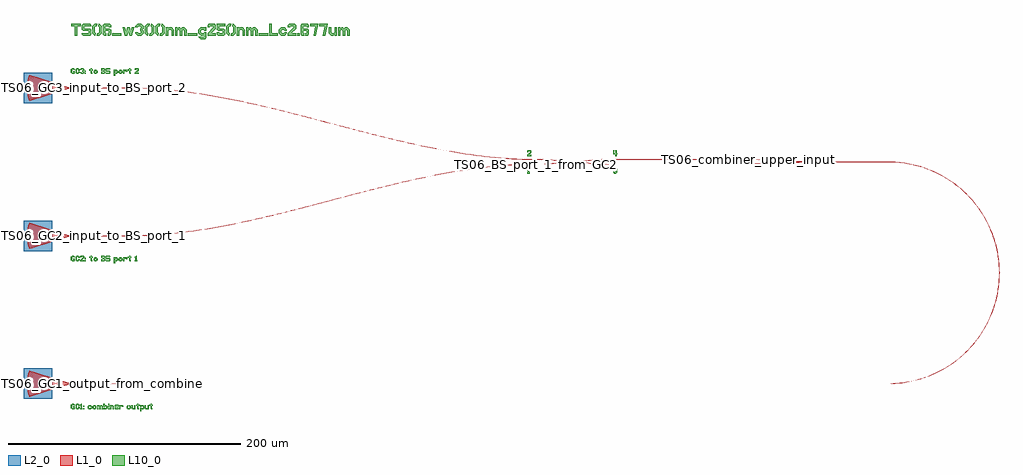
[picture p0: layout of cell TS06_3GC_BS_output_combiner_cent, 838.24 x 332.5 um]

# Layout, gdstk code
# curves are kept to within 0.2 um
from math import pi, radians
import gdstk
lib = gdstk.Library(unit=1e-6, precision=1e-09)
def R(c, l, rs):  # rectangles x0, y0, x1, y1
    for r in rs: c.add(gdstk.rectangle(r[:2], r[2:], *l))
def P(c, l, *ps):  # polygons
    for p in ps: c.add(gdstk.Polygon(p, *l))
L1_0 = (1, 0)
L2_0 = (2, 0)
L10_0 = (10, 0)

grating_coupler_ellipti_ = lib.new_cell('grating_coupler_ellipti_2639d331')
P(grating_coupler_ellipti_, L1_0, [(15.723,-4.923),(0,-0.25),(0,0.25),(15.723,4.923),(16.379,2.5),(16.6,0),(16.379,-2.5)],
  [(16.17,-5.184),(16.048,-5.018),(16.502,-3.548),(16.798,-2.041),(16.906,-1.023),(16.942,0),(16.906,1.023),(16.798,2.041),(16.502,3.548),(16.048,5.018),(16.17,5.184),(16.37,5.134),(16.698,4.138),(16.954,3.121),(17.202,1.569),(17.286,0),(17.202,-1.569),(16.954,-3.121),(16.698,-4.138),(16.37,-5.134)],
  [(16.819,-5.387),(16.697,-5.221),(17.169,-3.692),(17.438,-2.387),(17.59,-1.065),(17.627,0),(17.59,1.065),(17.438,2.387),(17.169,3.692),(16.697,5.221),(16.819,5.387),(17.019,5.337),(17.36,4.302),(17.626,3.245),(17.884,1.631),(17.971,0),(17.884,-1.631),(17.626,-3.245),(17.36,-4.302),(17.019,-5.337)],
  [(17.469,-5.59),(17.345,-5.424),(17.837,-3.836),(18.115,-2.48),(18.273,-1.106),(18.312,0),(18.273,1.106),(18.115,2.48),(17.837,3.836),(17.345,5.424),(17.469,5.59),(17.669,5.54),(18.021,4.466),(18.298,3.368),(18.566,1.693),(18.656,0),(18.566,-1.693),(18.298,-3.368),(18.021,-4.466),(17.669,-5.54)],
  [(18.117,-5.793),(17.995,-5.627),(18.504,-3.979),(18.793,-2.573),(18.957,-1.147),(18.997,0),(18.957,1.147),(18.793,2.573),(18.504,3.979),(17.995,5.627),(18.117,5.793),(18.317,5.743),(18.683,4.63),(18.97,3.492),(19.248,1.755),(19.341,0),(19.248,-1.755),(18.97,-3.492),(18.683,-4.63),(18.317,-5.743)],
  [(18.767,-5.996),(18.643,-5.83),(19.171,-4.123),(19.47,-2.666),(19.64,-1.189),(19.682,0),(19.64,1.189),(19.47,2.666),(19.171,4.123),(18.643,5.83),(18.767,5.996),(18.967,5.946),(19.345,4.793),(19.641,3.615),(19.929,1.818),(20.026,0),(19.929,-1.818),(19.641,-3.615),(19.345,-4.793),(18.967,-5.946)],
  [(19.416,-6.199),(19.292,-6.034),(19.838,-4.267),(20.148,-2.759),(20.324,-1.23),(20.367,0),(20.324,1.23),(20.148,2.759),(19.838,4.267),(19.292,6.034),(19.416,6.199),(19.616,6.148),(20.007,4.957),(20.313,3.739),(20.611,1.88),(20.711,0),(20.611,-1.88),(20.313,-3.739),(20.007,-4.957),(19.616,-6.148)],
  [(20.063,-6.403),(19.941,-6.237),(20.505,-4.41),(20.826,-2.852),(20.982,-1.589),(21.052,0),(20.982,1.589),(20.826,2.852),(20.505,4.41),(19.941,6.237),(20.063,6.403),(20.263,6.353),(20.668,5.121),(20.985,3.862),(21.293,1.942),(21.396,0),(21.293,-1.942),(20.985,-3.862),(20.668,-5.121),(20.263,-6.353)],
  [(20.712,-6.606),(20.59,-6.44),(21.089,-4.872),(21.503,-2.945),(21.691,-1.313),(21.737,0),(21.691,1.313),(21.503,2.945),(21.089,4.872),(20.59,6.44),(20.712,6.606),(20.912,6.556),(21.33,5.285),(21.657,3.986),(21.974,2.004),(22.081,0),(21.974,-2.004),(21.657,-3.986),(21.33,-5.285),(20.912,-6.556)],
  [(21.362,-6.809),(21.238,-6.643),(21.84,-4.698),(22.181,-3.038),(22.374,-1.355),(22.422,0),(22.374,1.355),(22.181,3.038),(21.84,4.698),(21.238,6.643),(21.362,6.809),(21.562,6.759),(21.992,5.448),(22.329,4.109),(22.656,2.066),(22.766,0),(22.656,-2.066),(22.329,-4.109),(21.992,-5.448),(21.562,-6.759)],
  [(22.01,-7.012),(21.888,-6.846),(22.507,-4.841),(22.858,-3.131),(23.058,-1.396),(23.107,0),(23.058,1.396),(22.858,3.131),(22.507,4.841),(21.888,6.846),(22.01,7.012),(22.21,6.962),(22.33,6.628),(22.75,5.27),(23.001,4.233),(23.338,2.128),(23.451,0),(23.338,-2.128),(23.001,-4.233),(22.75,-5.27),(22.33,-6.628),(22.21,-6.962)],
  [(22.66,-7.215),(22.536,-7.049),(23.174,-4.985),(23.536,-3.224),(23.713,-1.796),(23.792,0),(23.713,1.796),(23.536,3.224),(23.174,4.985),(22.536,7.049),(22.66,7.215),(22.86,7.165),(22.982,6.821),(23.414,5.423),(23.673,4.356),(24.02,2.19),(24.136,0),(24.02,-2.19),(23.673,-4.356),(23.414,-5.423),(22.982,-6.821),(22.86,-7.165)],
  [(23.307,-7.418),(23.185,-7.252),(23.841,-5.129),(24.214,-3.317),(24.425,-1.479),(24.477,0),(24.425,1.479),(24.214,3.317),(23.841,5.129),(23.185,7.252),(23.307,7.418),(23.507,7.368),(23.634,7.016),(24.079,5.577),(24.345,4.48),(24.701,2.252),(24.821,0),(24.701,-2.252),(24.345,-4.48),(24.079,-5.577),(23.634,-7.016),(23.507,-7.368)],
  [(23.956,-7.622),(23.834,-7.456),(24.508,-5.273),(24.891,-3.41),(25.078,-1.9),(25.162,0),(25.078,1.9),(24.891,3.41),(24.508,5.273),(23.834,7.456),(23.956,7.622),(24.156,7.572),(24.41,6.841),(24.743,5.731),(25.094,4.225),(25.383,2.314),(25.506,0),(25.383,-2.314),(25.094,-4.225),(24.743,-5.731),(24.41,-6.841),(24.156,-7.572)],
  [(24.606,-7.825),(24.483,-7.659),(25.176,-5.416),(25.569,-3.502),(25.792,-1.562),(25.847,0),(25.792,1.562),(25.569,3.502),(25.176,5.416),(24.483,7.659),(24.606,7.825),(24.805,7.775),(25.066,7.026),(25.408,5.884),(25.768,4.338),(26.065,2.376),(26.191,0),(26.065,-2.376),(25.768,-4.338),(25.408,-5.884),(25.066,-7.026),(24.805,-7.775)],
  [(25.255,-8.028),(25.131,-7.862),(25.843,-5.56),(26.247,-3.595),(26.476,-1.603),(26.532,0),(26.476,1.603),(26.247,3.595),(25.843,5.56),(25.131,7.862),(25.255,8.028),(25.455,7.978),(25.722,7.209),(26.073,6.038),(26.442,4.451),(26.746,2.438),(26.876,0),(26.746,-2.438),(26.442,-4.451),(26.073,-6.038),(25.722,-7.209),(25.455,-7.978)],
  [(25.904,-8.231),(25.78,-8.066),(26.51,-5.704),(26.924,-3.688),(27.159,-1.645),(27.217,0),(27.159,1.645),(26.924,3.688),(26.51,5.704),(25.78,8.066),(25.904,8.231),(26.104,8.18),(26.377,7.393),(26.737,6.192),(27.116,4.565),(27.428,2.501),(27.561,0),(27.428,-2.501),(27.116,-4.565),(26.737,-6.192),(26.377,-7.393),(26.104,-8.18)],
  [(26.553,-8.434),(26.43,-8.268),(27.177,-5.847),(27.602,-3.781),(27.843,-1.686),(27.902,0),(27.843,1.686),(27.602,3.781),(27.177,5.847),(26.43,8.268),(26.553,8.434),(26.752,8.384),(27.033,7.576),(27.402,6.346),(27.79,4.678),(28.11,2.563),(28.246,0),(28.11,-2.563),(27.79,-4.678),(27.402,-6.346),(27.033,-7.576),(26.752,-8.384)],
  [(27.2,-8.637),(27.078,-8.471),(27.494,-7.24),(27.844,-5.991),(28.279,-3.874),(28.492,-2.158),(28.587,0),(28.492,2.158),(28.279,3.874),(27.844,5.991),(27.494,7.24),(27.078,8.471),(27.2,8.637),(27.4,8.587),(27.689,7.76),(28.066,6.499),(28.464,4.791),(28.792,2.625),(28.931,0),(28.792,-2.625),(28.464,-4.791),(28.066,-6.499),(27.689,-7.76),(27.4,-8.587)],
  [(27.85,-8.84),(27.726,-8.674),(28.153,-7.414),(28.511,-6.135),(28.957,-3.967),(29.21,-1.769),(29.272,0),(29.21,1.769),(28.957,3.967),(28.511,6.135),(28.153,7.414),(27.726,8.674),(27.85,8.84),(28.05,8.79),(28.344,7.944),(28.731,6.653),(29.138,4.905),(29.473,2.687),(29.579,1.345),(29.616,0),(29.579,-1.345),(29.473,-2.687),(29.138,-4.905),(28.731,-6.653),(28.344,-7.944),(28.05,-8.79)],
  [(28.498,-9.044),(28.376,-8.878),(28.811,-7.588),(29.179,-6.278),(29.635,-4.06),(29.893,-1.81),(29.957,0),(29.893,1.81),(29.635,4.06),(29.179,6.278),(28.811,7.588),(28.376,8.878),(28.498,9.044),(28.698,8.994),(29,8.126),(29.395,6.807),(29.812,5.018),(30.155,2.749),(30.263,1.376),(30.301,0),(30.263,-1.376),(30.155,-2.749),(29.812,-5.018),(29.395,-6.807),(29,-8.126),(28.698,-8.994)],
  [(29.148,-9.247),(29.024,-9.081),(29.47,-7.761),(29.846,-6.422),(30.312,-4.153),(30.577,-1.852),(30.642,0),(30.577,1.852),(30.312,4.153),(29.846,6.422),(29.47,7.761),(29.024,9.081),(29.148,9.247),(29.348,9.197),(29.656,8.31),(30.06,6.961),(30.486,5.131),(30.837,2.811),(30.948,1.407),(30.986,0),(30.948,-1.407),(30.837,-2.811),(30.486,-5.131),(30.06,-6.961),(29.656,-8.31),(29.348,-9.197)],
  [(29.797,-9.45),(29.673,-9.284),(30.129,-7.935),(30.513,-6.566),(30.99,-4.246),(31.223,-2.366),(31.327,0),(31.223,2.366),(30.99,4.246),(30.513,6.566),(30.129,7.935),(29.673,9.284),(29.797,9.45),(29.997,9.4),(30.311,8.494),(30.724,7.114),(31.16,5.245),(31.4,3.825),(31.565,2.396),(31.671,0),(31.565,-2.396),(31.4,-3.825),(31.16,-5.245),(30.724,-7.114),(30.311,-8.494),(29.997,-9.4)],
  [(30.444,-9.653),(30.322,-9.487),(30.788,-8.11),(31.18,-6.71),(31.667,-4.339),(31.944,-1.935),(32.012,0),(31.944,1.935),(31.667,4.339),(31.18,6.71),(30.788,8.11),(30.322,9.487),(30.444,9.653),(30.644,9.603),(30.967,8.677),(31.389,7.268),(31.834,5.358),(32.2,2.935),(32.316,1.47),(32.356,0),(32.316,-1.47),(32.2,-2.935),(31.834,-5.358),(31.389,-7.268),(30.967,-8.677),(30.644,-9.603)],
  [(31.093,-9.856),(30.971,-9.69),(31.722,-7.332),(32.071,-5.89),(32.345,-4.432),(32.588,-2.469),(32.697,0),(32.588,2.469),(32.345,4.432),(32.071,5.89),(31.722,7.332),(30.971,9.69),(31.093,9.856),(31.293,9.806),(31.622,8.862),(32.054,7.422),(32.508,5.471),(32.882,2.997),(33,1.501),(33.041,0),(33,-1.501),(32.882,-2.997),(32.508,-5.471),(32.054,-7.422),(31.622,-8.862),(31.293,-9.806)],
  [(31.742,-10.059),(31.62,-9.893),(32.105,-8.456),(32.514,-6.997),(33.023,-4.525),(33.311,-2.018),(33.382,0),(33.311,2.018),(33.023,4.525),(32.514,6.997),(32.105,8.456),(31.62,9.893),(31.742,10.059),(31.942,10.009),(32.278,9.044),(32.718,7.576),(33.182,5.585),(33.437,4.073),(33.613,2.551),(33.726,0),(33.613,-2.551),(33.437,-4.073),(33.182,-5.585),(32.718,-7.576),(32.278,-9.044),(31.942,-10.009)],
  [(32.391,-10.263),(32.269,-10.097),(32.764,-8.63),(33.182,-7.141),(33.7,-4.618),(33.994,-2.059),(34.067,0),(33.994,2.059),(33.7,4.618),(33.182,7.141),(32.764,8.63),(32.269,10.097),(32.391,10.263),(32.591,10.213),(32.934,9.228),(33.383,7.729),(33.856,5.698),(34.245,3.121),(34.368,1.563),(34.411,0),(34.368,-1.563),(34.245,-3.121),(33.856,-5.698),(33.383,-7.729),(32.934,-9.228),(32.591,-10.213)],
  [(33.041,-10.466),(32.918,-10.3),(33.423,-8.803),(33.849,-7.284),(34.378,-4.71),(34.678,-2.101),(34.752,0),(34.678,2.101),(34.378,4.71),(33.849,7.284),(33.423,8.803),(32.918,10.3),(33.041,10.466),(33.24,10.416),(33.751,8.905),(34.181,7.368),(34.529,5.811),(34.927,3.184),(35.053,1.594),(35.096,0),(35.053,-1.594),(34.927,-3.184),(34.529,-5.811),(34.181,-7.368),(33.751,-8.905),(33.24,-10.416)],
  [(33.69,-10.669),(33.566,-10.503),(34.082,-8.977),(34.516,-7.428),(35.056,-4.803),(35.362,-2.142),(35.437,0),(35.362,2.142),(35.056,4.803),(34.516,7.428),(34.082,8.977),(33.566,10.503),(33.69,10.669),(33.89,10.619),(34.41,9.079),(34.848,7.512),(35.203,5.925),(35.609,3.246),(35.737,1.625),(35.781,0),(35.737,-1.625),(35.609,-3.246),(35.203,-5.925),(34.848,-7.512),(34.41,-9.079),(33.89,-10.619)],
  [(34.337,-10.872),(34.215,-10.706),(34.74,-9.151),(35.183,-7.572),(35.733,-4.896),(36.002,-2.728),(36.122,0),(36.002,2.728),(35.733,4.896),(35.183,7.572),(34.74,9.151),(34.215,10.706),(34.337,10.872),(34.537,10.822),(34.901,9.778),(35.376,8.191),(35.877,6.038),(36.154,4.404),(36.344,2.758),(36.466,0),(36.344,-2.758),(36.154,-4.404),(35.877,-6.038),(35.376,-8.191),(34.901,-9.778),(34.537,-10.822)],
  [(34.986,-11.075),(34.864,-10.909),(35.399,-9.324),(35.85,-7.715),(36.411,-4.989),(36.729,-2.225),(36.807,0),(36.729,2.225),(36.411,4.989),(35.85,7.715),(35.399,9.324),(34.864,10.909),(34.986,11.075),(35.186,11.025),(35.727,9.426),(36.182,7.799),(36.551,6.151),(36.972,3.37),(37.105,1.687),(37.151,0),(37.105,-1.687),(36.972,-3.37),(36.551,-6.151),(36.182,-7.799),(35.727,-9.426),(35.186,-11.025)])
R(grating_coupler_ellipti_, L2_0, [(15.6,-13.075,40.164,13.075)])

gc_1550_l2r_7f0eae7e = lib.new_cell('gc_1550_l2r_7f0eae7e')
gc_1550_l2r_7f0eae7e.add(gdstk.Reference(grating_coupler_ellipti_, (0,0), rotation=pi))

text_gdsfactorypcompone_ = lib.new_cell('text_gdsfactorypcompone_0cec1d55')
P(text_gdsfactorypcompone_, L10_0, [(0.5,0),(0.5,1),(1,1),(1,3),(0.5,3),(0.5,4),(1.5,5),(2,5),(2,1),(2.5,1),(2.5,0)])

c_text_gdsfactorypcompone_ = lib.new_cell('text_gdsfactorypcompone_bb60dcc4')
P(c_text_gdsfactorypcompone_, L10_0, [(0.5,0),(0.5,1),(3,3.5),(3,4),(1.5,4),(1.5,3.5),(0.5,3.5),(0.5,4.5),(1,5),(3.5,5),(4,4.5),(4,3),(2,1),(4,1),(4,0)])

c_text_gdsfactorypcompone__ = lib.new_cell('text_gdsfactorypcompone_8bb6a0ed')
P(c_text_gdsfactorypcompone__, L10_0, [(1.5,0),(0.5,1),(0.5,1.5),(1.5,1.5),(2,1),(2.5,1),(3,1.5),(2.5,2),(2.5,3),(3,3.5),(2.5,4),(2,4),(1.5,3.5),(0.5,3.5),(0.5,4),(1.5,5),(3,5),(4,4),(4,3),(3.5,2.5),(4,2),(4,1),(3,0)])

c_text_gdsfactorypcompone___ = lib.new_cell('text_gdsfactorypcompone_e2f2af36')
P(c_text_gdsfactorypcompone___, L10_0, [(2.5,0),(2.5,1.5),(0.5,1.5),(0.5,5),(1.5,5),(1.5,2.5),(2.5,2.5),(2.5,5),(3.5,5),(3.5,2.5),(4,2.5),(4,1.5),(3.5,1.5),(3.5,0)])

bs_w300nm_g250nm_lc2_677 = lib.new_cell('BS_w300nm_g250nm_Lc2.677um_9631b')
P(bs_w300nm_g250nm_lc2_677, L1_0, [(29.833,0.125),(26.826,0.201),(23.655,0.401),(13.153,1.419),(9.324,1.713),(5.998,1.842),(0,1.85),(0,2.15),(6.002,2.142),(9.175,2.022),(13.013,1.733),(24.011,0.675),(27.007,0.493),(29.834,0.425),(34.007,0.439),(37.834,0.615),(41.496,0.918),(49.664,1.733),(53.836,2.041),(56.675,2.142),(62.677,2.15),(62.677,1.85),(56.679,1.842),(53.186,1.703),(49.857,1.449),(41.191,0.588),(37.353,0.283),(34.013,0.139)],
  [(0,-2.15),(0,-1.85),(5.998,-1.842),(9.324,-1.713),(13.153,-1.419),(23.655,-0.401),(26.826,-0.201),(29.833,-0.125),(34.348,-0.147),(38.021,-0.327),(41.691,-0.635),(49.857,-1.449),(54.018,-1.75),(57.178,-1.848),(62.677,-1.85),(62.677,-2.15),(57.176,-2.148),(54.503,-2.074),(50.164,-1.777),(41.496,-0.918),(37.834,-0.615),(34.007,-0.439),(29.834,-0.425),(27.007,-0.493),(24.011,-0.675),(13.013,-1.733),(9.175,-2.022),(6.002,-2.142)])
bs_w300nm_g250nm_lc2_677.add(gdstk.Reference(text_gdsfactorypcompone_, (-8,-10)))
bs_w300nm_g250nm_lc2_677.add(gdstk.Reference(c_text_gdsfactorypcompone_, (-8,5)))
bs_w300nm_g250nm_lc2_677.add(gdstk.Reference(c_text_gdsfactorypcompone__, (65.677,-10)))
bs_w300nm_g250nm_lc2_677.add(gdstk.Reference(c_text_gdsfactorypcompone___, (65.677,5)))
bs_w300nm_g250nm_lc2_677.add(gdstk.Label('BS_port_1_left_bottom', (0,-2), layer=11, texttype=0))
bs_w300nm_g250nm_lc2_677.add(gdstk.Label('BS_port_2_left_top', (0,2), layer=11, texttype=0))
bs_w300nm_g250nm_lc2_677.add(gdstk.Label('BS_port_3_right_bottom_through_of_1', (62.677,-2), layer=11, texttype=0))
bs_w300nm_g250nm_lc2_677.add(gdstk.Label('BS_port_4_right_top', (62.677,2), layer=11, texttype=0))

y_combiner_2x1_ts06_9d61 = lib.new_cell('Y_combiner_2x1_TS06_9d610cba')
R(y_combiner_2x1_ts06_9d61, L1_0, [(60,-0.15,80,0.15)])
P(y_combiner_2x1_ts06_9d61, L1_0, [(59.6,-0.15),(52.397,-0.062),(44.394,0.185),(21.193,1.278),(12.795,1.616),(6.397,1.787),(0,1.85),(0,2.15),(6.403,2.087),(12.805,1.916),(19.207,1.667),(38.007,0.759),(45.605,0.44),(52.803,0.229),(60,0.15),(60,-0.15)],
  [(0,-2.15),(0,-1.85),(7.197,-1.771),(14.395,-1.56),(21.993,-1.241),(38.393,-0.441),(47.195,-0.084),(53.597,0.087),(60,0.15),(60,-0.15),(52.803,-0.229),(45.605,-0.44),(38.007,-0.759),(21.607,-1.559),(12.805,-1.916),(6.403,-2.087)])

c_text_gdsfactorypcompone____ = lib.new_cell('text_gdsfactorypcompone_e87f1c93')
R(c_text_gdsfactorypcompone____, L10_0, [(36,0,44,2), (101,0,109,2), (162,0,170,2), (195,0,197,2)])
P(c_text_gdsfactorypcompone____, L10_0, [(47,0),(45,7),(47,7),(48,3.5),(49,7),(51,7),(52,3.5),(53,7),(55,7),(53,0),(51,0),(50,3.5),(49,0)],
  [(82,0),(82,7),(84,7),(84,6),(85,7),(87,7),(89,5),(89,0),(87,0),(87,4),(86,5),(85,5),(84,4),(84,0)],
  [(90,0),(90,7),(92,7),(92,6),(93,7),(94,7),(95,6),(96,7),(98,7),(100,5),(100,0),(98,0),(98,4),(97,5),(96,4),(96,0),(94,0),(94,4),(93,5),(92,4),(92,0)],
  [(112,-3),(110,-1),(115,-1),(115,0),(112.34,0),(110,2),(110,5),(112,7),(117,7),(117,4),(115,4),(115,5),(113,5),(112,4),(112,3),(113,2),(115,2),(115,3),(117,3),(117,-2),(116,-3)],
  [(143,0),(143,7),(145,7),(145,6),(146,7),(148,7),(150,5),(150,0),(148,0),(148,4),(147,5),(146,5),(145,4),(145,0)],
  [(151,0),(151,7),(153,7),(153,6),(154,7),(155,7),(156,6),(157,7),(159,7),(161,5),(161,0),(159,0),(159,4),(158,5),(157,4),(157,0),(155,0),(155,4),(154,5),(153,4),(153,0)],
  [(181,0),(179,2),(179,5),(181,7),(184,7),(186,5),(186,4),(184,4),(183,5),(182,5),(181,4),(181,3),(182,2),(183,2),(184,3),(186,3),(186,2),(184,0)],
  [(224,0),(222,2),(222,7),(224,7),(224,3),(225,2),(226,2),(227,3),(227,7),(229,7),(229,0),(227,0),(227,1),(226,0)],
  [(230,0),(230,7),(232,7),(232,6),(233,7),(234,7),(235,6),(236,7),(238,7),(240,5),(240,0),(238,0),(238,4),(237,5),(236,4),(236,0),(234,0),(234,4),(233,5),(232,4),(232,0)],
  [(4,0),(4,8),(1,8),(1,10),(9,10),(9,8),(6,8),(6,0)],
  [(11,0),(10,1),(10,2),(16,2),(16,4),(11,4),(10,5),(10,9),(11,10),(17,10),(18,9),(18,8),(12,8),(12,6),(17,6),(18,5),(18,1),(17,0)],
  [(21,0),(19,2),(19,8),(21,10),(23.3,10),(22.8,8),(22,8),(21,7),(21,3),(22,2),(21.5,0)],
  [(22.7,0),(23.2,2),(24,2),(25,3),(25,7),(24,8),(24.5,10),(25,10),(27,8),(27,2),(25,0)],
  [(29,0),(28,1),(28,9),(29,10),(34,10),(35,9),(35,7),(33,7),(33,8),(30,8),(30,6),(34,6),(35,5),(35,1),(34,0),(32,0),(32,2),(33,2),(33,4),(30,4),(30,2),(31,2),(31,0)],
  [(58,0),(56,2),(56,3),(58,3),(59,2),(60,2),(61,3),(60,4),(60,6),(61,7),(60,8),(59,8),(58,7),(56,7),(56,8),(58,10),(61,10),(63,8),(63,6),(62,5),(63,4),(63,2),(61,0)],
  [(66,0),(64,2),(64,8),(66,10),(68.3,10),(67.8,8),(67,8),(66,7),(66,3),(67,2),(66.5,0)],
  [(67.7,0),(68.2,2),(69,2),(70,3),(70,7),(69,8),(69.5,10),(70,10),(72,8),(72,2),(70,0)],
  [(75,0),(73,2),(73,8),(75,10),(77.3,10),(76.8,8),(76,8),(75,7),(75,3),(76,2),(75.5,0)],
  [(76.7,0),(77.2,2),(78,2),(79,3),(79,7),(78,8),(78.5,10),(79,10),(81,8),(81,2),(79,0)],
  [(118,0),(118,2),(123,7),(123,8),(120,8),(120,7),(118,7),(118,9),(119,10),(124,10),(125,9),(125,6),(121,2),(125,2),(125,0)],
  [(127,0),(126,1),(126,3),(128,3),(128,2),(131,2),(131,4),(127,4),(126,5),(126,10),(133,10),(133,8),(128,8),(128,6),(132,6),(133,5),(133,1),(132,0)],
  [(136,0),(134,2),(134,8),(136,10),(138.3,10),(137.8,8),(137,8),(136,7),(136,3),(137,2),(136.5,0)],
  [(137.7,0),(138.2,2),(139,2),(140,3),(140,7),(139,8),(139.5,10),(140,10),(142,8),(142,2),(140,0)],
  [(171,0),(171,10),(173,10),(173,2),(178,2),(178,0)],
  [(187,0),(187,2),(192,7),(192,8),(189,8),(189,7),(187,7),(187,9),(188,10),(193,10),(194,9),(194,6),(190,2),(194,2),(194,0)],
  [(199,0),(198,1),(198,9),(199,10),(204,10),(205,9),(205,7),(203,7),(203,8),(200,8),(200,6),(204,6),(205,5),(205,1),(204,0),(202,0),(202,2),(203,2),(203,4),(200,4),(200,2),(201,2),(201,0)],
  [(209,0),(210.6,8),(206,8),(206,10),(213,10),(211,0)],
  [(217,0),(218.6,8),(214,8),(214,10),(221,10),(219,0)])

c_text_gdsfactorypcompone_____ = lib.new_cell('text_gdsfactorypcompone_c0ff4e2b')
R(c_text_gdsfactorypcompone_____, L10_0, [(11,0,12,1), (32.5,0,33.5,3), (11,2,12,3), (32.5,4,33.5,5)])
P(c_text_gdsfactorypcompone_____, L10_0, [(16,0),(15,1),(15,2.5),(16,3.5),(17.5,3.5),(18.5,2.5),(18.5,2),(17.5,2),(17,2.5),(16.5,2.5),(16,2),(16,1.5),(16.5,1),(17,1),(17.5,1.5),(18.5,1.5),(18.5,1),(17.5,0)],
  [(20,0),(19,1),(19,2.5),(20,3.5),(20.5,3.5),(20.5,2.5),(20,2),(20,1.5),(20.5,1),(21,1),(21.5,1.5),(21.5,2),(21,2.5),(21,3.5),(21.5,3.5),(22.5,2.5),(22.5,1),(21.5,0)],
  [(23,0),(23,3.5),(24,3.5),(24,3),(24.5,3.5),(25,3.5),(25.5,3),(26,3.5),(27,3.5),(28,2.5),(28,0),(27,0),(27,2),(26.5,2.5),(26,2),(26,0),(25,0),(25,2),(24.5,2.5),(24,2),(24,0)],
  [(34,0),(34,3.5),(35,3.5),(35,3),(35.5,3.5),(36.5,3.5),(37.5,2.5),(37.5,0),(36.5,0),(36.5,2),(36,2.5),(35.5,2.5),(35,2),(35,0)],
  [(42,0),(42,3.5),(43,3.5),(43,3),(43.5,3.5),(45,3.5),(45.5,3),(45.5,2),(44.5,2),(44.5,2.5),(43.5,2.5),(43,2),(43,0)],
  [(49.5,0),(48.5,1),(48.5,2.5),(49.5,3.5),(50,3.5),(50,2.5),(49.5,2),(49.5,1.5),(50,1),(50.5,1),(51,1.5),(51,2),(50.5,2.5),(50.5,3.5),(51,3.5),(52,2.5),(52,1),(51,0)],
  [(53.5,0),(52.5,1),(52.5,3.5),(53.5,3.5),(53.5,1.5),(54,1),(54.5,1),(55,1.5),(55,3.5),(56,3.5),(56,0),(55,0),(55,0.5),(54.5,0)],
  [(60,-1.5),(60,1.5),(61,1.5),(61,1),(62,1),(62.5,1.5),(62.5,2),(62,2.5),(61,2.5),(61,2),(60,2),(60,3.5),(62.5,3.5),(63.5,2.5),(63.5,1),(62.5,0),(61,0),(61,-1.5)],
  [(65,0),(64,1),(64,3.5),(65,3.5),(65,1.5),(65.5,1),(66,1),(66.5,1.5),(66.5,3.5),(67.5,3.5),(67.5,0),(66.5,0),(66.5,0.5),(66,0)],
  [(38.5,0),(38,0.5),(38,3.5),(38.5,4),(41,4),(41.5,3.5),(41.5,2),(41,1.5),(39.7,1.5),(39.7,2.5),(40.5,2.5),(40.5,3),(39,3),(39,1),(41.5,1),(41.5,0.5),(41,0)],
  [(1.5,0),(0.5,1),(0.5,4),(1.5,5),(3,5),(4,4),(4,3.5),(3,3.5),(2.5,4),(2,4),(1.5,3.5),(1.5,1.5),(2,1),(3,1),(3,1.5),(2.5,1.5),(2.5,2.5),(4,2.5),(4,0.5),(3.5,0)],
  [(5.5,0),(4.5,1),(4.5,4),(5.5,5),(7,5),(8,4),(8,3),(7,3),(7,3.5),(6.5,4),(6,4),(5.5,3.5),(5.5,1.5),(6,1),(6.5,1),(7,1.5),(7,2),(8,2),(8,1),(7,0)],
  [(8.5,0),(8.5,1),(9,1),(9,3),(8.5,3),(8.5,4),(9.5,5),(10,5),(10,1),(10.5,1),(10.5,0)],
  [(28.5,0),(28.5,1.5),(29.5,1.5),(29.5,1),(30.5,1),(31,1.5),(31,2),(30.5,2.5),(29.5,2.5),(29.5,2),(28.5,2),(28.5,5),(29.5,5),(29.5,3.5),(31,3.5),(32,2.5),(32,1),(31,0)],
  [(58,0),(57.5,0.5),(57.5,3),(56.5,3),(56.5,4),(57.5,4),(57.5,5),(58.5,5),(58.5,4),(59.5,4),(59.5,3),(58.5,3),(58.5,1),(59,1),(59,0)],
  [(69.5,0),(69,0.5),(69,3),(68,3),(68,4),(69,4),(69,5),(70,5),(70,4),(71,4),(71,3),(70,3),(70,1),(70.5,1),(70.5,0)])

c_text_gdsfactorypcompone______ = lib.new_cell('text_gdsfactorypcompone_d52e5848')
R(c_text_gdsfactorypcompone______, L10_0, [(12.5,0,13.5,1), (12.5,2,13.5,3)])
P(c_text_gdsfactorypcompone______, L10_0, [(21,0),(20,1),(20,2.5),(21,3.5),(21.5,3.5),(21.5,2.5),(21,2),(21,1.5),(21.5,1),(22,1),(22.5,1.5),(22.5,2),(22,2.5),(22,3.5),(22.5,3.5),(23.5,2.5),(23.5,1),(22.5,0)],
  [(37.5,-1.5),(37.5,1.5),(38.5,1.5),(38.5,1),(39.5,1),(40,1.5),(40,2),(39.5,2.5),(38.5,2.5),(38.5,2),(37.5,2),(37.5,3.5),(40,3.5),(41,2.5),(41,1),(40,0),(38.5,0),(38.5,-1.5)],
  [(42.5,0),(41.5,1),(41.5,2.5),(42.5,3.5),(43,3.5),(43,2.5),(42.5,2),(42.5,1.5),(43,1),(43.5,1),(44,1.5),(44,2),(43.5,2.5),(43.5,3.5),(44,3.5),(45,2.5),(45,1),(44,0)],
  [(45.5,0),(45.5,3.5),(46.5,3.5),(46.5,3),(47,3.5),(48.5,3.5),(49,3),(49,2),(48,2),(48,2.5),(47,2.5),(46.5,2),(46.5,0)],
  [(1.5,0),(0.5,1),(0.5,4),(1.5,5),(3,5),(4,4),(4,3.5),(3,3.5),(2.5,4),(2,4),(1.5,3.5),(1.5,1.5),(2,1),(3,1),(3,1.5),(2.5,1.5),(2.5,2.5),(4,2.5),(4,0.5),(3.5,0)],
  [(5.5,0),(4.5,1),(4.5,4),(5.5,5),(7,5),(8,4),(8,3),(7,3),(7,3.5),(6.5,4),(6,4),(5.5,3.5),(5.5,1.5),(6,1),(6.5,1),(7,1.5),(7,2),(8,2),(8,1),(7,0)],
  [(8.5,0),(8.5,1),(11,3.5),(11,4),(9.5,4),(9.5,3.5),(8.5,3.5),(8.5,4.5),(9,5),(11.5,5),(12,4.5),(12,3),(10,1),(12,1),(12,0)],
  [(18,0),(17.5,0.5),(17.5,3),(16.5,3),(16.5,4),(17.5,4),(17.5,5),(18.5,5),(18.5,4),(19.5,4),(19.5,3),(18.5,3),(18.5,1),(19,1),(19,0)],
  [(26.5,0),(26.5,2),(27.5,2),(27.5,1),(28.5,1),(29,1.5),(28.5,2),(28.1,2),(28.1,3),(28.5,3),(29,3.5),(28.5,4),(27.5,4),(27.5,3),(26.5,3),(26.5,5),(29,5),(30,4),(30,3),(29.5,2.5),(30,2),(30,1),(29,0)],
  [(31,0),(30.5,0.5),(30.5,1),(33.5,1),(33.5,2),(31,2),(30.5,2.5),(30.5,4.5),(31,5),(34,5),(34.5,4.5),(34.5,4),(31.5,4),(31.5,3),(34,3),(34.5,2.5),(34.5,0.5),(34,0)],
  [(51,0),(50.5,0.5),(50.5,3),(49.5,3),(49.5,4),(50.5,4),(50.5,5),(51.5,5),(51.5,4),(52.5,4),(52.5,3),(51.5,3),(51.5,1),(52,1),(52,0)],
  [(55.5,0),(55.5,1),(56,1),(56,3),(55.5,3),(55.5,4),(56.5,5),(57,5),(57,1),(57.5,1),(57.5,0)])

c_text_gdsfactorypcompone_______ = lib.new_cell('text_gdsfactorypcompone_b450b07f')
R(c_text_gdsfactorypcompone_______, L10_0, [(12.5,0,13.5,1), (12.5,2,13.5,3)])
P(c_text_gdsfactorypcompone_______, L10_0, [(21,0),(20,1),(20,2.5),(21,3.5),(21.5,3.5),(21.5,2.5),(21,2),(21,1.5),(21.5,1),(22,1),(22.5,1.5),(22.5,2),(22,2.5),(22,3.5),(22.5,3.5),(23.5,2.5),(23.5,1),(22.5,0)],
  [(37.5,-1.5),(37.5,1.5),(38.5,1.5),(38.5,1),(39.5,1),(40,1.5),(40,2),(39.5,2.5),(38.5,2.5),(38.5,2),(37.5,2),(37.5,3.5),(40,3.5),(41,2.5),(41,1),(40,0),(38.5,0),(38.5,-1.5)],
  [(42.5,0),(41.5,1),(41.5,2.5),(42.5,3.5),(43,3.5),(43,2.5),(42.5,2),(42.5,1.5),(43,1),(43.5,1),(44,1.5),(44,2),(43.5,2.5),(43.5,3.5),(44,3.5),(45,2.5),(45,1),(44,0)],
  [(45.5,0),(45.5,3.5),(46.5,3.5),(46.5,3),(47,3.5),(48.5,3.5),(49,3),(49,2),(48,2),(48,2.5),(47,2.5),(46.5,2),(46.5,0)],
  [(1.5,0),(0.5,1),(0.5,4),(1.5,5),(3,5),(4,4),(4,3.5),(3,3.5),(2.5,4),(2,4),(1.5,3.5),(1.5,1.5),(2,1),(3,1),(3,1.5),(2.5,1.5),(2.5,2.5),(4,2.5),(4,0.5),(3.5,0)],
  [(5.5,0),(4.5,1),(4.5,4),(5.5,5),(7,5),(8,4),(8,3),(7,3),(7,3.5),(6.5,4),(6,4),(5.5,3.5),(5.5,1.5),(6,1),(6.5,1),(7,1.5),(7,2),(8,2),(8,1),(7,0)],
  [(9.5,0),(8.5,1),(8.5,1.5),(9.5,1.5),(10,1),(10.5,1),(11,1.5),(10.5,2),(10.5,3),(11,3.5),(10.5,4),(10,4),(9.5,3.5),(8.5,3.5),(8.5,4),(9.5,5),(11,5),(12,4),(12,3),(11.5,2.5),(12,2),(12,1),(11,0)],
  [(18,0),(17.5,0.5),(17.5,3),(16.5,3),(16.5,4),(17.5,4),(17.5,5),(18.5,5),(18.5,4),(19.5,4),(19.5,3),(18.5,3),(18.5,1),(19,1),(19,0)],
  [(26.5,0),(26.5,2),(27.5,2),(27.5,1),(28.5,1),(29,1.5),(28.5,2),(28.1,2),(28.1,3),(28.5,3),(29,3.5),(28.5,4),(27.5,4),(27.5,3),(26.5,3),(26.5,5),(29,5),(30,4),(30,3),(29.5,2.5),(30,2),(30,1),(29,0)],
  [(31,0),(30.5,0.5),(30.5,1),(33.5,1),(33.5,2),(31,2),(30.5,2.5),(30.5,4.5),(31,5),(34,5),(34.5,4.5),(34.5,4),(31.5,4),(31.5,3),(34,3),(34.5,2.5),(34.5,0.5),(34,0)],
  [(51,0),(50.5,0.5),(50.5,3),(49.5,3),(49.5,4),(50.5,4),(50.5,5),(51.5,5),(51.5,4),(52.5,4),(52.5,3),(51.5,3),(51.5,1),(52,1),(52,0)],
  [(55.5,0),(55.5,1),(58,3.5),(58,4),(56.5,4),(56.5,3.5),(55.5,3.5),(55.5,4.5),(56,5),(58.5,5),(59,4.5),(59,3),(57,1),(59,1),(59,0)])

ts06_3gc_bs_output_combi = lib.new_cell('TS06_3GC_BS_output_combiner_cent')
R(ts06_3gc_bs_output_combi, L1_0, [(462.677,124.85,582.677,125.15), (462.677,128.85,582.677,129.15)])
P(ts06_3gc_bs_output_combi, L1_0, [(0,-63.75),(0,-63.25),(50,-63.35),(50,-63.65)],
  [(0,63.25),(0,63.75),(50,63.65),(50,63.35)],
  [(0,190.25),(0,190.75),(50,190.65),(50,190.35)],
  [(50.001,63.35),(49.999,63.65),(54.665,63.682),(61.662,63.85),(66.326,64.039),(73.324,64.433),(77.988,64.767),(84.986,65.371),(94.316,66.359),(103.646,67.543),(108.312,68.204),(115.31,69.277),(126.973,71.268),(138.637,73.488),(147.969,75.411),(159.633,77.976),(168.965,80.14),(180.631,82.961),(189.963,85.293),(201.629,88.282),(252.963,101.712),(266.964,105.253),(278.632,108.097),(290.3,110.816),(301.969,113.382),(313.638,115.767),(325.307,117.945),(336.977,119.888),(346.313,121.254),(355.649,122.439),(364.986,123.427),(374.323,124.206),(383.66,124.761),(388.328,124.949),(392.997,125.077),(399.999,125.15),(400.001,124.85),(395.335,124.818),(388.338,124.65),(383.674,124.461),(376.676,124.067),(372.012,123.733),(365.014,123.129),(355.684,122.141),(346.354,120.957),(341.688,120.296),(334.69,119.223),(323.027,117.232),(311.363,115.012),(302.031,113.089),(290.367,110.524),(281.035,108.36),(269.369,105.539),(260.037,103.207),(248.371,100.218),(197.037,86.788),(183.036,83.247),(171.368,80.403),(159.7,77.684),(148.031,75.118),(136.362,72.733),(124.693,70.555),(113.023,68.612),(103.687,67.246),(94.351,66.061),(85.014,65.073),(75.677,64.294),(66.34,63.739),(61.672,63.551),(57.003,63.423)],
  [(399.999,128.85),(392.997,128.923),(388.328,129.051),(383.66,129.239),(374.323,129.794),(364.986,130.573),(355.649,131.561),(346.313,132.746),(336.977,134.112),(325.307,136.055),(313.638,138.233),(301.969,140.618),(290.3,143.184),(278.632,145.903),(266.964,148.747),(252.963,152.288),(201.629,165.718),(189.963,168.707),(180.631,171.039),(168.965,173.86),(159.633,176.024),(147.969,178.589),(138.637,180.512),(126.973,182.732),(115.31,184.723),(108.312,185.796),(103.646,186.457),(94.316,187.641),(84.986,188.629),(77.988,189.233),(73.324,189.567),(66.326,189.961),(61.662,190.15),(54.665,190.318),(49.999,190.35),(50.001,190.65),(57.003,190.577),(61.672,190.449),(66.34,190.261),(75.677,189.706),(85.014,188.927),(94.351,187.939),(103.687,186.754),(113.023,185.388),(124.693,183.445),(136.362,181.267),(148.031,178.882),(159.7,176.316),(171.368,173.597),(183.036,170.753),(197.037,167.212),(248.371,153.782),(260.037,150.793),(269.369,148.461),(281.035,145.64),(290.367,143.476),(302.031,140.911),(311.363,138.988),(323.027,136.768),(334.69,134.777),(341.688,133.704),(346.354,133.043),(355.684,131.859),(365.014,130.871),(372.012,130.267),(376.676,129.933),(383.674,129.539),(388.338,129.35),(395.335,129.182),(400.001,129.15)],
  [(50,-63.65),(50,-63.35),(702.677,-63.35),(706.659,-63.267),(708.648,-63.162),(712.618,-62.829),(716.569,-62.33),(720.497,-61.666),(722.449,-61.272),(726.327,-60.362),(730.164,-59.291),(732.065,-58.695),(735.826,-57.386),(739.53,-55.919),(743.169,-54.299),(744.962,-53.432),(748.492,-51.587),(751.941,-49.595),(755.305,-47.461),(758.575,-45.188),(760.174,-44),(763.296,-41.526),(766.311,-38.923),(767.777,-37.575),(770.623,-34.788),(773.35,-31.884),(775.953,-28.869),(777.206,-27.321),(779.615,-24.148),(781.888,-20.878),(782.973,-19.207),(785.036,-15.8),(786.014,-14.065),(787.859,-10.535),(789.555,-6.931),(791.099,-3.259),(791.813,-1.399),(793.122,2.362),(793.718,4.263),(794.789,8.1),(795.699,11.978),(796.093,13.93),(796.757,17.858),(797.256,21.809),(797.443,23.792),(797.694,27.768),(797.777,31.75),(797.694,35.732),(797.443,39.708),(797.256,41.691),(796.757,45.642),(796.093,49.57),(795.699,51.522),(794.789,55.4),(793.718,59.237),(793.122,61.138),(791.813,64.899),(791.099,66.759),(789.555,70.431),(787.859,74.035),(786.014,77.565),(785.036,79.3),(782.973,82.707),(780.768,86.025),(778.427,89.247),(775.953,92.369),(773.35,95.384),(772.002,96.85),(769.215,99.696),(766.311,102.423),(763.296,105.026),(760.174,107.5),(758.575,108.688),(755.305,110.961),(753.634,112.046),(750.227,114.109),(746.736,116.028),(743.169,117.799),(739.53,119.419),(735.826,120.886),(732.065,122.195),(728.251,123.347),(724.393,124.337),(720.497,125.166),(716.569,125.83),(714.596,126.1),(712.618,126.329),(708.648,126.662),(704.669,126.829),(662.677,126.85),(662.677,127.15),(704.675,127.129),(708.667,126.962),(710.66,126.815),(714.634,126.398),(716.613,126.127),(718.587,125.814),(722.512,125.065),(726.402,124.153),(730.251,123.078),(734.051,121.844),(735.931,121.167),(739.646,119.696),(743.296,118.071),(745.095,117.201),(748.636,115.35),(752.097,113.352),(755.471,111.211),(757.123,110.088),(760.356,107.739),(763.487,105.257),(766.512,102.646),(767.983,101.294),(769.425,99.911),(772.221,97.056),(773.573,95.585),(776.184,92.56),(778.666,89.429),(781.015,86.196),(782.138,84.544),(784.279,81.17),(785.296,79.45),(786.277,77.709),(788.128,74.168),(788.998,72.369),(790.623,68.719),(792.094,65.004),(793.408,61.23),(794.563,57.405),(795.08,55.475),(795.992,51.585),(796.741,47.66),(797.054,45.686),(797.325,43.707),(797.742,39.733),(797.993,35.745),(798.077,31.75),(798.056,29.752),(797.889,25.76),(797.554,21.778),(797.054,17.814),(796.741,15.84),(795.992,11.915),(795.08,8.025),(794.005,4.176),(792.771,0.376),(792.094,-1.504),(790.623,-5.219),(788.998,-8.869),(788.128,-10.668),(786.277,-14.209),(784.279,-17.67),(782.138,-21.044),(781.015,-22.696),(778.666,-25.929),(776.184,-29.06),(773.573,-32.085),(772.221,-33.556),(769.425,-36.411),(766.512,-39.146),(763.487,-41.757),(760.356,-44.239),(757.123,-46.588),(755.471,-47.711),(752.097,-49.852),(748.636,-51.85),(746.875,-52.794),(743.296,-54.571),(739.646,-56.196),(737.796,-56.951),(734.051,-58.344),(730.251,-59.578),(726.402,-60.653),(722.512,-61.565),(718.587,-62.314),(716.613,-62.627),(712.649,-63.127),(708.667,-63.462),(704.675,-63.629),(702.677,-63.65)])
ts06_3gc_bs_output_combi.add(gdstk.Reference(gc_1550_l2r_7f0eae7e, (0,-63.5)))
ts06_3gc_bs_output_combi.add(gdstk.Reference(gc_1550_l2r_7f0eae7e, (0,63.5)))
ts06_3gc_bs_output_combi.add(gdstk.Reference(gc_1550_l2r_7f0eae7e, (0,190.5)))
ts06_3gc_bs_output_combi.add(gdstk.Reference(bs_w300nm_g250nm_lc2_677, (400,127)))
ts06_3gc_bs_output_combi.add(gdstk.Reference(y_combiner_2x1_ts06_9d61, (582.677,127)))
ts06_3gc_bs_output_combi.add(gdstk.Reference(c_text_gdsfactorypcompone____, (0,235.5)))
ts06_3gc_bs_output_combi.add(gdstk.Reference(c_text_gdsfactorypcompone_____, (0,-85.5)))
ts06_3gc_bs_output_combi.add(gdstk.Reference(c_text_gdsfactorypcompone______, (0,41.5)))
ts06_3gc_bs_output_combi.add(gdstk.Reference(c_text_gdsfactorypcompone_______, (0,202.5)))
ts06_3gc_bs_output_combi.add(gdstk.Label('TS06_GC1_output_from_combiner', (0,-63.5), layer=11, texttype=0))
ts06_3gc_bs_output_combi.add(gdstk.Label('TS06_GC2_input_to_BS_port_1', (0,63.5), layer=11, texttype=0))
ts06_3gc_bs_output_combi.add(gdstk.Label('TS06_GC3_input_to_BS_port_2', (0,190.5), layer=11, texttype=0))
ts06_3gc_bs_output_combi.add(gdstk.Label('TS06_BS_port_1_from_GC2', (400,125), layer=11, texttype=0))
ts06_3gc_bs_output_combi.add(gdstk.Label('TS06_BS_port_2_from_GC3', (400,129), layer=11, texttype=0))
ts06_3gc_bs_output_combi.add(gdstk.Label('TS06_BS_port_3_to_combiner_lower', (462.677,125), layer=11, texttype=0))
ts06_3gc_bs_output_combi.add(gdstk.Label('TS06_BS_port_4_to_combiner_upper', (462.677,129), layer=11, texttype=0))
ts06_3gc_bs_output_combi.add(gdstk.Label('TS06_combiner_upper_input', (582.677,129), layer=11, texttype=0))
ts06_3gc_bs_output_combi.add(gdstk.Label('TS06_combiner_lower_input', (582.677,125), layer=11, texttype=0))
ts06_3gc_bs_output_combi.add(gdstk.Label('TS06_combiner_output_to_GC1', (662.677,127), layer=11, texttype=0))

lib.write_gds('TS06_3GC_BS_output_combiner_cent.gds')
